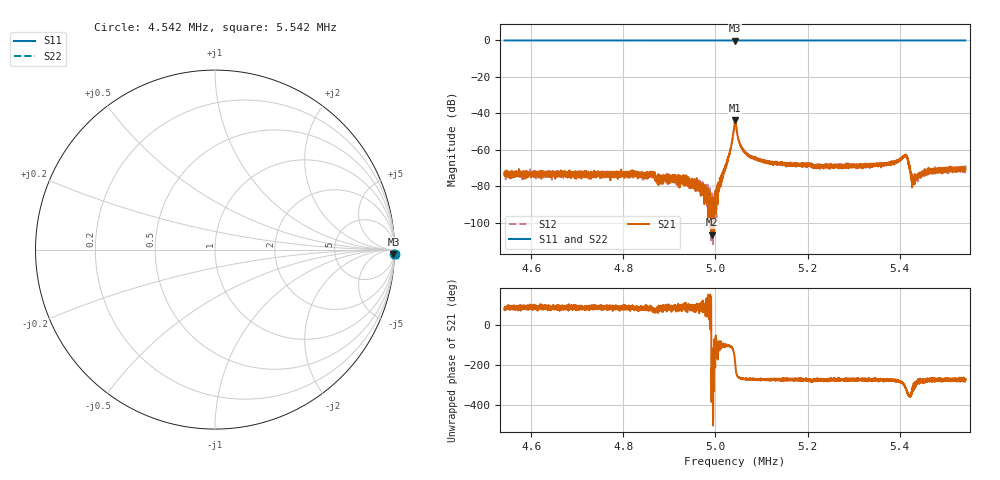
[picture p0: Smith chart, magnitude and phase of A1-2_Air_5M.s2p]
!Agilent Technologies,E5071C,MY46107720,A.11.31
!Date: Mon Mar 29 07:25:18 2021
!Data & Calibration Information:
!Freq	S33:SOLT4(ON)	S43:SOLT4(ON)	S34:SOLT4(ON)	S44:SOLT4(ON)
!PortZ  Port3:50+j0  Port4:50+j0
!Above PortZ is port z conversion or system Z0 setting when saving the data.
!When reading, reference impedance value at option line is always used.
# Hz S dB R 50
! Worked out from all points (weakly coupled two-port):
!   6000 points, 4.542 MHz to 5.542 MHz, reference 50 ohm
!   highest |S21| = -43.81 dB at 5.043 MHz (marker M1); lowest = -106.6 dB at 4.992 MHz (marker M2)
!   lowest |S11| = -0.1 dB at 5.043 MHz (marker M3), VSWR 345.95, Z = 842 - j3.72e+03 ohm
!   |S11| at or under -10 dB: nowhere
!   |S22| runs from -0.1 to 0.0 dB; largest |S21 - S12| = 0.00013
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4542447  0.01 -1.3  -73.45 77.6  -73.96 92.4  0.00 -1.3
4709141  0.01 -1.3  -73.16 98.6  -72.56 83.3  -0.00 -1.3
4859667  0.01 -1.4  -73.99 84.9  -72.32 88.2  0.00 -1.4
4875836  0.01 -1.4  -76.13 84.8  -74.94 81.6  -0.00 -1.4
4927344  0.01 -1.4  -76.17 91.8  -75.76 89.6  0.00 -1.4
4991522  0.01 -1.4  -106.63 -23.0  -92.55 159.3  0.00 -1.4
5004691  0.00 -1.4  -83.44 -88.5  -81.92 -112.2  0.00 -1.4
5011025  0.00 -1.5  -78.49 -101.7  -78.05 -98.0  0.00 -1.4
5028361  0.00 -1.5  -64.00 -102.7  -63.65 -102.0  -0.00 -1.5
5042530  -0.05 -1.5  -43.94 179.5  -43.97 180.0  -0.05 -1.4
5042864  -0.05 -1.4  -43.81 170.1  -43.87 170.3  -0.06 -1.4
5058033  0.00 -1.4  -59.37 92.8  -59.27 91.5  0.00 -1.4
5079370  0.01 -1.4  -64.32 93.0  -64.36 91.7  -0.00 -1.4
5125878  0.01 -1.5  -67.75 87.9  -67.29 83.9  0.00 -1.4
5209225  0.00 -1.5  -68.62 83.6  -68.59 82.2  0.00 -1.5
5375919  0.01 -1.5  -67.20 87.2  -68.24 90.2  0.00 -1.5
5412592  0.00 -1.6  -63.62 46.4  -63.31 50.5  -0.00 -1.5
5417760  0.00 -1.5  -66.59 18.3  -65.59 20.8  -0.00 -1.5
5427094  0.00 -1.5  -77.70 29.8  -75.81 33.7  -0.00 -1.5
5430928  0.00 -1.5  -76.03 49.2  -75.97 50.0  0.00 -1.5
5469101  0.01 -1.6  -70.71 80.3  -71.79 90.1  0.00 -1.5
5542447  0.01 -1.6  -69.22 92.1  -69.82 87.5  -0.00 -1.6
